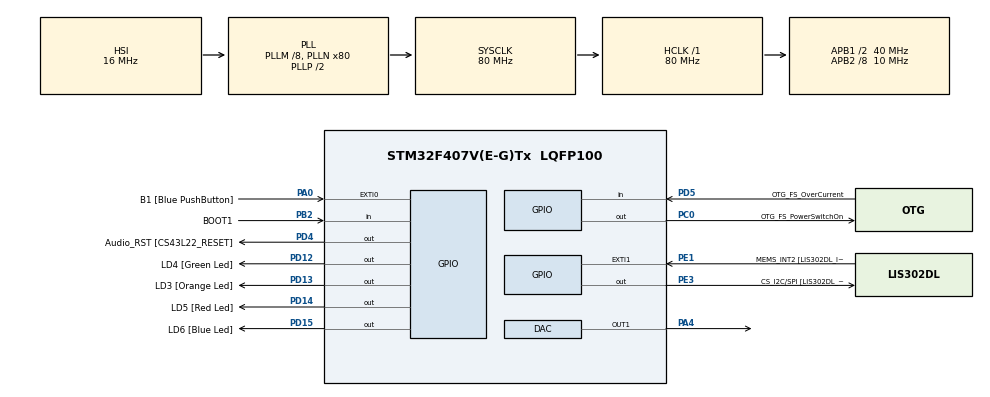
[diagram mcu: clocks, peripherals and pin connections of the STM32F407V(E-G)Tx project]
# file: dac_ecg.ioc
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Mcu.Family=STM32F4
Mcu.Name=STM32F407V(E-G)Tx
Mcu.Package=LQFP100
NVIC.EXTI0_IRQn=true\:0\:0\:false\:false\:true\:true\:true\:true
NVIC.PriorityGroup=NVIC_PRIORITYGROUP_0
NVIC.TIM2_IRQn=true\:0\:0\:false\:false\:true\:true\:true\:true
PA0-WKUP.GPIO_Label=B1 [Blue PushButton]
PA0-WKUP.Signal=GPXTI0
PA10.GPIO_Label=OTG_FS_ID
PA10.GPIO_Mode=GPIO_MODE_AF_PP
PA10.GPIO_PuPd=GPIO_NOPULL
PA10.GPIO_Speed=GPIO_SPEED_FREQ_LOW
PA10.Signal=USB_OTG_FS_ID
PA11.GPIO_Label=OTG_FS_DM
PA11.GPIO_Mode=GPIO_MODE_AF_PP
PA11.GPIO_PuPd=GPIO_NOPULL
PA11.GPIO_Speed=GPIO_SPEED_FREQ_LOW
PA11.Signal=USB_OTG_FS_DM
PA12.GPIO_Label=OTG_FS_DP
PA12.GPIO_Mode=GPIO_MODE_AF_PP
PA12.GPIO_PuPd=GPIO_NOPULL
PA12.GPIO_Speed=GPIO_SPEED_FREQ_LOW
PA12.Signal=USB_OTG_FS_DP
PA13.GPIO_Label=SWDIO
PA13.Signal=SYS_JTMS-SWDIO
PA14.GPIO_Label=SWCLK
PA14.Signal=SYS_JTCK-SWCLK
PA4.Signal=COMP_DAC1_group
PA5.GPIO_Label=SPI1_SCK [LIS302DL_SCL/SPC]
PA5.GPIO_Mode=GPIO_MODE_AF_PP
PA5.GPIO_PuPd=GPIO_NOPULL
PA5.GPIO_Speed=GPIO_SPEED_FREQ_LOW
PA5.Signal=SPI1_SCK
PA6.GPIO_Label=SPI1_MISO [LIS302DL_SDO]
PA6.GPIO_Mode=GPIO_MODE_AF_PP
PA6.GPIO_PuPd=GPIO_NOPULL
PA6.GPIO_Speed=GPIO_SPEED_FREQ_LOW
PA6.Signal=SPI1_MISO
PA7.GPIO_Label=SPI1_MOSI [LIS302DL_SDA/SDI/SDO]
PA7.GPIO_Mode=GPIO_MODE_AF_PP
PA7.GPIO_PuPd=GPIO_NOPULL
PA7.GPIO_Speed=GPIO_SPEED_FREQ_LOW
PA7.Signal=SPI1_MOSI
PA9.GPIO_Label=VBUS_FS
PA9.GPIO_Mode=GPIO_MODE_INPUT
PA9.GPIO_PuPd=GPIO_NOPULL
PA9.Signal=USB_OTG_FS_VBUS
PB10.GPIO_Label=CLK_IN [MP45DT02_CLK]
PB10.GPIO_Mode=GPIO_MODE_AF_PP
PB10.GPIO_PuPd=GPIO_NOPULL
PB10.GPIO_Speed=GPIO_SPEED_FREQ_LOW
PB10.Signal=I2S2_CK
PB2.GPIO_Label=BOOT1
PB2.GPIO_Mode=GPIO_MODE_INPUT
PB2.GPIO_PuPd=GPIO_NOPULL
PB2.Signal=GPIO_Input
PB3.GPIO_Label=SWO
PB3.Signal=SYS_JTDO-SWO
PB6.GPIO_Label=Audio_SCL [CS43L22_SCL]
PB6.GPIO_Mode=GPIO_MODE_AF_OD
PB6.GPIO_PuPd=GPIO_NOPULL
PB6.GPIO_Speed=GPIO_SPEED_FREQ_LOW
PB6.Signal=I2C1_SCL
PB9.GPIO_Label=Audio_SDA [CS43L22_SDA]
PB9.GPIO_Mode=GPIO_MODE_AF_OD
PB9.GPIO_PuPd=GPIO_NOPULL
PB9.GPIO_Speed=GPIO_SPEED_FREQ_LOW
PB9.Signal=I2C1_SDA
PC0.GPIO_Label=OTG_FS_PowerSwitchOn
PC0.GPIO_PuPd=GPIO_NOPULL
PC0.GPIO_Speed=GPIO_SPEED_FREQ_LOW
PC0.PinState=GPIO_PIN_SET
PC0.Signal=GPIO_Output
PC10.GPIO_Label=I2S3_SCK [CS43L22_SCLK]
PC10.GPIO_Mode=GPIO_MODE_AF_PP
PC10.GPIO_PuPd=GPIO_NOPULL
PC10.GPIO_Speed=GPIO_SPEED_FREQ_LOW
PC10.Signal=I2S3_CK
PC12.GPIO_Label=I2S3_SD [CS43L22_SDIN]
PC12.GPIO_Mode=GPIO_MODE_AF_PP
PC12.GPIO_PuPd=GPIO_NOPULL
PC12.GPIO_Speed=GPIO_SPEED_FREQ_LOW
PC12.Signal=I2S3_SD
PC14-OSC32_IN.GPIO_Label=PC14-OSC32_IN
PC14-OSC32_IN.Signal=RCC_OSC32_IN
PC15-OSC32_OUT.GPIO_Label=PC15-OSC32_OUT
PC15-OSC32_OUT.Signal=RCC_OSC32_OUT
PC3.GPIO_Label=PDM_OUT [MP45DT02_DOUT]
PC3.GPIO_Mode=GPIO_MODE_AF_PP
PC3.GPIO_PuPd=GPIO_NOPULL
PC3.GPIO_Speed=GPIO_SPEED_FREQ_LOW
PC3.Signal=I2S2_SD
PC7.GPIO_Label=I2S3_MCK [CS43L22_MCLK]
PC7.GPIO_Mode=GPIO_MODE_AF_PP
PC7.GPIO_PuPd=GPIO_NOPULL
PC7.GPIO_Speed=GPIO_SPEED_FREQ_LOW
PC7.Signal=I2S3_MCK
PD12.GPIO_Label=LD4 [Green Led]
PD12.GPIO_PuPd=GPIO_NOPULL
PD12.GPIO_Speed=GPIO_SPEED_FREQ_LOW
PD12.Signal=GPIO_Output
PD13.GPIO_Label=LD3 [Orange Led]
PD13.GPIO_PuPd=GPIO_NOPULL
PD13.GPIO_Speed=GPIO_SPEED_FREQ_LOW
PD13.Signal=GPIO_Output
PD14.GPIO_Label=LD5 [Red Led]
PD14.GPIO_PuPd=GPIO_NOPULL
PD14.GPIO_Speed=GPIO_SPEED_FREQ_LOW
PD14.Signal=GPIO_Output
PD15.GPIO_Label=LD6 [Blue Led]
PD15.GPIO_PuPd=GPIO_NOPULL
PD15.GPIO_Speed=GPIO_SPEED_FREQ_LOW
PD15.Signal=GPIO_Output
PD4.GPIO_Label=Audio_RST [CS43L22_RESET]
PD4.GPIO_PuPd=GPIO_NOPULL
PD4.GPIO_Speed=GPIO_SPEED_FREQ_LOW
PD4.Signal=GPIO_Output
PD5.GPIO_Label=OTG_FS_OverCurrent
PD5.GPIO_Mode=GPIO_MODE_INPUT
PD5.GPIO_PuPd=GPIO_NOPULL
PD5.Signal=GPIO_Input
PE1.GPIO_Label=MEMS_INT2 [LIS302DL_INT2]
PE1.GPIO_ModeDefaultEXTI=GPIO_MODE_EVT_RISING
PE1.GPIO_PuPd=GPIO_NOPULL
PE1.Signal=GPXTI1
PE3.GPIO_Label=CS_I2C/SPI [LIS302DL_CS_I2C/SPI]
PE3.GPIO_PuPd=GPIO_NOPULL
PE3.GPIO_Speed=GPIO_SPEED_FREQ_LOW
PE3.Signal=GPIO_Output
PH0-OSC_IN.GPIO_Label=PH0-OSC_IN
PH0-OSC_IN.Signal=RCC_OSC_IN
PH1-OSC_OUT.GPIO_Label=PH1-OSC_OUT
PH1-OSC_OUT.Signal=RCC_OSC_OUT
ProjectManager.HeapSize=0x200
ProjectManager.StackSize=0x400
ProjectManager.TargetToolchain=STM32CubeIDE
RCC.48MHZClocksFreq_Value=22857142.85714286
RCC.AHBFreq_Value=80000000
RCC.APB1CLKDivider=RCC_HCLK_DIV2
RCC.APB1Freq_Value=40000000
RCC.APB1TimFreq_Value=80000000
RCC.APB2CLKDivider=RCC_HCLK_DIV8
RCC.APB2Freq_Value=10000000
RCC.APB2TimFreq_Value=20000000
RCC.CortexFreq_Value=80000000
RCC.HCLKFreq_Value=80000000
RCC.HSE_VALUE=8000000
RCC.HSI_VALUE=16000000
RCC.LSE_VALUE=32768
RCC.PLLM=8
RCC.PLLN=80
RCC.PLLQ=7
RCC.SYSCLKFreq_VALUE=80000000
RCC.SYSCLKSource=RCC_SYSCLKSOURCE_PLLCLK
RCC.VCOOutputFreq_Value=160000000
SH.COMP_DAC1_group.0=DAC_OUT1,DAC_OUT1
TIM2.Period=999
TIM2.Prescaler=79
VP_TIM2_VS_ClockSourceINT.Mode=Internal
board=STM32F407G-DISC1

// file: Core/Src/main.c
/* USER CODE BEGIN Header */
/**
  ******************************************************************************
  * @file           : main.c
  * @brief          : Main program body
  ******************************************************************************
  * @attention
  *
  * Copyright (c) 2025 STMicroelectronics.
  * All rights reserved.
  *
  * This software is licensed under terms that can be found in the LICENSE file
  * in the root directory of this software component.
  * If no LICENSE file comes with this software, it is provided AS-IS.
  *
  ******************************************************************************
  */
/* USER CODE END Header */
#include "main.h"

/* USER CODE BEGIN Includes */
#define FREQ_SAMPLING 1000
#define LED_VERDE GPIO_PIN_12
#define LED_NARANJA GPIO_PIN_13
#define LED_ROJO GPIO_PIN_14
#define LED_AZUL GPIO_PIN_15

#define ECG_30_SIZE (sizeof(ecg_30ppm)/sizeof(ecg_30ppm[0]))
#define ECG_60_SIZE (sizeof(ecg_60ppm)/sizeof(ecg_60ppm[0]))
#define ECG_120_SIZE (sizeof(ecg_120ppm)/sizeof(ecg_120ppm[0]))
#define ECG_180_SIZE (sizeof(ecg_180ppm)/sizeof(ecg_180ppm[0]))

volatile uint16_t i = 0;
volatile uint8_t n = 0;

const uint16_t ecg_30ppm[2000] = {
    189, 189, 189, 189, 189, 189, 189, 189, 189, 190,
    190, 190, 190, 190, 190, 190, 190, 190, 190, 190,
    190, 190, 190, 190, 190, 190, 190, 190, 190, 190,
    190, 190, 191, 191, 191, 191, 191, 191, 191, 191,
    191, 191, 191, 191, 191, 191, 191, 191, 191, 191,
    191, 191, 191, 191, 191, 191, 192, 192, 192, 192,
    192, 192, 192, 192, 192, 192, 192, 192, 192, 192,
    192, 192, 192, 192, 192, 192, 192, 192, 192, 192,
    193, 193, 193, 193, 193, 193, 193, 193, 193, 193,
    193, 193, 193, 193, 193, 193, 193, 193, 193, 193,
    193, 193, 193, 193, 194, 194, 194, 194, 194, 194,
    194, 194, 194, 194, 194, 194, 194, 194, 194, 194,
    194, 194, 194, 194, 194, 194, 194, 194, 194, 195,
    195, 195, 195, 195, 195, 195, 195, 195, 195, 195,
    195, 195, 195, 195, 195, 195, 195, 195, 195, 195,
    195, 195, 195, 195, 195, 196, 196, 196, 196, 196,
    196, 196, 196, 196, 196, 196, 196, 196, 196, 196,
    196, 196, 196, 196, 196, 196, 196, 196, 196, 196,
    196, 196, 197, 197, 197, 197, 197, 197, 197, 197,
    197, 197, 197, 197, 197, 197, 197, 197, 197, 197,
    197, 197, 197, 197, 197, 197, 197, 197, 197, 198,
    198, 198, 198, 198, 198, 198, 198, 198, 198, 198,
    198, 198, 198, 198, 198, 198, 198, 198, 198, 198,
    198, 198, 198, 198, 198, 198, 198, 199, 199, 199,
    199, 199, 199, 199, 199, 199, 199, 199, 199, 199,
    199, 199, 199, 199, 199, 199, 199, 199, 199, 199,
    199, 199, 199, 199, 199, 199, 200, 200, 200, 200,
    200, 200, 200, 200, 200, 200, 200, 200, 200, 200,
    200, 200, 200, 200, 200, 200, 200, 200, 200, 200,
    200, 200, 200, 200, 200, 200, 201, 201, 201, 201,
    201, 201, 201, 201, 201, 201, 201, 201, 201, 201,
    201, 201, 201, 201, 201, 201, 201, 201, 201, 201,
    201, 201, 201, 201, 201, 201, 202, 202, 202, 202,
    202, 202, 202, 202, 202, 202, 202, 202, 202, 202,
    202, 202, 202, 202, 202, 202, 202, 202, 202, 202,
    202, 202, 202, 202, 202, 202, 202, 202, 203, 203,
    203, 203, 203, 203, 203, 203, 203, 203, 203, 203,
    203, 203, 203, 203, 203, 203, 203, 203, 203, 203,
    203, 203, 203, 203, 203, 203, 203, 203, 203, 203,
    203, 204, 204, 204, 204, 204, 204, 204, 204, 204,
    204, 204, 204, 204, 204, 204, 204, 204, 204, 204,
    204, 204, 204, 204, 204, 204, 204, 204, 204, 204,
    204, 204, 204, 204, 205, 205, 205, 205, 205, 205,
    205, 205, 205, 205, 205, 205, 205, 205, 205, 205,
    205, 205, 205, 205, 205, 205, 205, 205, 205, 205,
    205, 205, 205, 205, 205, 205, 205, 205, 205, 206,
    206, 206, 206, 206, 206, 206, 206, 206, 206, 206,
    206, 206, 206, 206, 206, 206, 206, 206, 206, 206,
    206, 206, 206, 206, 206, 206, 206, 206, 206, 206,
    206, 206, 206, 206, 206, 206, 207, 207, 207, 207,
    207, 207, 207, 207, 207, 207, 207, 207, 207, 207,
    207, 207, 207, 207, 207, 207, 207, 207, 207, 207,
    207, 207, 207, 207, 207, 207, 207, 207, 207, 207,
    207, 207, 207, 208, 208, 208, 208, 208, 208, 208,
    208, 208, 208, 208, 208, 208, 208, 208, 208, 208,
    208, 208, 208, 208, 208, 208, 208, 208, 208, 208,
    208, 209, 209, 209, 209, 209, 209, 209, 209, 209,
    209, 209, 209, 209, 209, 209, 209, 209, 209, 209,
    209, 209, 209, 209, 209, 209, 209, 209, 209, 209,
    209, 209, 209, 209, 209, 209, 209, 209, 209, 209,
    209, 209, 209, 209, 209, 209, 210, 210, 210, 210,
    210, 210, 210, 210, 210, 210, 211, 211, 211, 211,
    211, 212, 212, 212, 212, 213, 213, 213, 214, 214,
    214, 215, 215, 216, 216, 217, 217, 218, 219, 219,
    220, 221, 221, 222, 223, 224, 225, 226, 227, 228,
    229, 231, 232, 233, 235, 236, 238, 239, 241, 243,
    244, 246, 248, 250, 252, 254, 257, 259, 261, 264,
    266, 268, 271, 274, 276, 279, 282, 284, 287, 290,
    293, 296, 298, 301, 304, 307, 310, 313, 316, 319,
    322, 325, 328, 331, 333, 336, 339, 342, 344, 347,
    349, 351, 354, 356, 358, 360, 362, 363, 365, 366,
    368, 369, 370, 371, 372, 372, 373, 373, 373, 373,
    373, 373, 373, 372, 372, 371, 370, 369, 368, 366,
    365, 363, 361, 360, 358, 356, 353, 351, 349, 346,
    344, 341, 338, 336, 333, 330, 327, 324, 321, 318,
    315, 312, 309, 306, 302, 299, 296, 293, 290, 287,
    284, 281, 278, 275, 272, 270, 267, 264, 262, 259,
    256, 254, 252, 249, 247, 245, 243, 241, 239, 237,
    235, 233, 231, 230, 228, 226, 225, 224, 222, 221,
    220, 219, 218, 217, 216, 215, 214, 213, 212, 211,
    211, 210, 209, 209, 208, 208, 207, 207, 206, 206,
    206, 205, 205, 205, 204, 204, 204, 204, 203, 203,
    203, 203, 203, 203, 203, 202, 202, 202, 202, 202,
    202, 202, 202, 202, 202, 202, 202, 202, 202, 202,
    202, 202, 202, 202, 202, 202, 202, 202, 202, 202,
    202, 202, 202, 202, 202, 202, 202, 202, 202, 202,
    202, 202, 202, 202, 202, 202, 202, 202, 203, 203,
    203, 203, 203, 203, 203, 203, 203, 203, 203, 203,
    203, 203, 203, 203, 203, 203, 203, 203, 203, 203,
    203, 203, 203, 203, 203, 203, 203, 203, 203, 203,
    203, 203, 203, 203, 203, 203, 203, 203, 203, 203,
    203, 203, 202, 202, 202, 202, 201, 201, 200, 200,
    199, 198, 198, 197, 196, 194, 193, 192, 190, 188,
    186, 184, 182, 179, 176, 173, 170, 166, 162, 159,
    155, 150, 146, 142, 137, 133, 129, 125, 121, 118,
    115, 113, 111, 109, 108, 108, 109, 111, 115, 119,
    126, 134, 144, 156, 170, 186, 204, 224, 247, 271,
    298, 327, 358, 391, 426, 462, 501, 540, 582, 624,
    668, 713, 758, 804, 849, 894, 938, 980, 1021, 1059,
    1096, 1129, 1160, 1187, 1211, 1232, 1249, 1262, 1271, 1275,
    1276, 1272, 1265, 1252, 1236, 1215, 1191, 1162, 1129, 1093,
    1054, 1013, 970, 925, 878, 831, 782, 734, 685, 636,
    588, 540, 494, 448, 404, 362, 322, 283, 247, 213,
    182, 154, 128, 105, 84, 66, 51, 37, 26, 17,
    10, 5, 2, 0, 0, 1, 4, 7, 12, 17,
    23, 30, 37, 44, 51, 59, 66, 73, 81, 88,
    95, 102, 108, 114, 120, 126, 131, 136, 140, 144,
    148, 152, 155, 158, 160, 163, 165, 167, 168, 170,
    171, 172, 173, 174, 175, 176, 177, 177, 178, 178,
    178, 179, 179, 179, 179, 180, 180, 180, 180, 180,
    180, 180, 181, 181, 181, 181, 181, 181, 181, 181,
    181, 181, 181, 181, 181, 181, 181, 182, 182, 182,
    182, 182, 182, 182, 182, 182, 182, 182, 182, 182,
    182, 182, 182, 182, 182, 182, 182, 183, 183, 183,
    183, 183, 183, 183, 183, 183, 183, 183, 183, 183,
    183, 183, 183, 183, 183, 183, 183, 184, 184, 184,
    184, 184, 184, 184, 184, 184, 184, 184, 184, 184,
    184, 184, 184, 184, 184, 184, 184, 185, 185, 185,
    185, 185, 185, 185, 185, 185, 185, 185, 185, 185,
    185, 185, 185, 185, 185, 185, 186, 186, 186, 186,
    186, 186, 186, 186, 186, 186, 186, 186, 186, 186,
    186, 186, 187, 187, 187, 187, 187, 187, 187, 187,
    187, 187, 187, 187, 187, 188, 188, 188, 188, 188,
    188, 188, 188, 188, 188, 189, 189, 189, 189, 189,
    189, 189, 189, 190, 190, 190, 190, 190, 190, 191,
    191, 191, 191, 191, 192, 192, 192, 192, 193, 193,
    193, 194, 194, 194, 195, 195, 195, 196, 196, 196,
    197, 197, 198, 198, 199, 199, 200, 200, 201, 201,
    202, 202, 203, 204, 204, 205, 206, 207, 207, 208,
    209, 210, 211, 212, 213, 214, 215, 216, 217, 218,
    219, 220, 221, 222, 224, 225, 226, 227, 229, 230,
    232, 233, 235, 236, 238, 240, 241, 243, 245, 247,
    248, 250, 252, 254, 256, 258, 260, 262, 264, 267,
    269, 271, 273, 276, 278, 281, 283, 285, 288, 291,
    293, 296, 298, 301, 304, 306, 309, 312, 315, 318,
    321, 323, 326, 329, 332, 335, 338, 341, 344, 347,
    350, 353, 356, 359, 362, 365, 368, 371, 374, 377,
    380, 383, 386, 389, 392, 395, 398, 401, 403, 406,
    409, 412, 414, 417, 420, 422, 425, 427, 429, 432,
    434, 436, 439, 441, 443, 445, 447, 448, 450, 452,
    453, 455, 456, 458, 459, 460, 461, 463, 463, 464,
    465, 466, 466, 467, 467, 468, 468, 468, 468, 468,
    468, 468, 467, 467, 467, 466, 465, 465, 464, 463,
    462, 461, 459, 458, 457, 455, 454, 452, 450, 449,
    447, 445, 443, 441, 439, 436, 434, 432, 429, 427,
    424, 422, 419, 417, 414, 411, 408, 405, 402, 399,
    396, 393, 390, 387, 384, 381, 378, 375, 371, 368,
    365, 362, 358, 355, 352, 349, 345, 342, 339, 336,
    332, 329, 326, 323, 319, 316, 313, 310, 307, 304,
    301, 298, 295, 292, 289, 286, 283, 280, 277, 274,
    272, 269, 266, 263, 261, 258, 256, 253, 251, 248,
    246, 244, 241, 239, 237, 235, 233, 230, 228, 226,
    225, 223, 221, 219, 217, 215, 214, 212, 211, 209,
    207, 206, 205, 203, 202, 200, 199, 198, 197, 196,
    194, 193, 192, 191, 190, 189, 188, 187, 187, 186,
    185, 184, 183, 183, 182, 181, 181, 180, 179, 179,
    178, 178, 177, 177, 176, 176, 175, 175, 174, 174,
    174, 173, 173, 173, 172, 172, 172, 172, 171, 171,
    171, 171, 171, 170, 170, 170, 170, 170, 170, 170,
    170, 169, 169, 169, 169, 169, 169, 169, 169, 169,
    169, 169, 169, 169, 169, 169, 169, 169, 169, 169,
    169, 169, 169, 169, 169, 169, 169, 169, 169, 169,
    169, 169, 169, 169, 169, 169, 169, 169, 169, 169,
    169, 169, 169, 169, 170, 170, 170, 170, 170, 170,
    170, 170, 170, 170, 170, 170, 170, 170, 170, 170,
    170, 170, 170, 170, 171, 171, 171, 171, 171, 171,
    171, 171, 171, 171, 171, 171, 171, 171, 171, 171,
    171, 172, 172, 172, 172, 172, 172, 172, 172, 172,
    172, 172, 172, 172, 172, 172, 172, 173, 173, 173,
    173, 173, 173, 173, 173, 173, 173, 173, 173, 173,
    173, 173, 173, 173, 174, 174, 174, 174, 174, 174,
    174, 174, 174, 174, 174, 174, 174, 174, 174, 174,
    174, 175, 175, 175, 175, 175, 175, 175, 175, 175,
    175, 175, 175, 175, 175, 175, 175, 175, 176, 176,
    176, 176, 176, 176, 176, 176, 176, 176, 176, 176,
    176, 176, 176, 176, 176, 177, 177, 177, 177, 177,
    177, 177, 177, 177, 177, 177, 177, 177, 177, 177,
    177, 177, 178, 178, 178, 178, 178, 178, 178, 178,
    178, 178, 178, 178, 178, 178, 178, 178, 178, 178,
    179, 179, 179, 179, 179, 179, 179, 179, 179, 179,
    179, 179, 179, 179, 179, 179, 179, 179, 179, 180,
    180, 180, 180, 180, 180, 180, 180, 180, 180, 180,
    180, 180, 180, 180, 180, 180, 180, 181, 181, 181,
    181, 181, 181, 181, 181, 181, 181, 181, 181, 181,
    181, 181, 181, 181, 181, 181, 182, 182, 182, 182,
    182, 182, 182, 182, 182, 182, 182, 182, 182, 182,
    182, 182, 182, 182, 182, 182, 183, 183, 183, 183,
    183, 183, 183, 183, 183, 183, 183, 183, 183, 183,
    183, 183, 183, 183, 183, 183, 184, 184, 184, 184,
    184, 184, 184, 184, 184, 184, 184, 184, 184, 184,
    184, 184, 184, 184, 184, 184, 185, 185, 185, 185,
    185, 185, 185, 185, 185, 185, 185, 185, 185, 185,
    185, 185, 185, 185, 185, 185, 186, 186, 186, 186,
    186, 186, 186, 186, 186, 186, 186, 186, 186, 186,
    186, 186, 186, 186, 186, 186, 186, 187, 187, 187,
    187, 187, 187, 187, 187, 187, 187, 187, 187, 187,
    187, 187, 187, 187, 187, 187, 187, 187, 187, 188,
    188, 188, 188, 188, 188, 188, 188, 188, 188, 188,
    188, 188, 188, 188, 188, 188, 188, 188, 188, 188,
    188, 189, 189, 189, 189, 189, 189, 189, 189, 189
};

const uint16_t ecg_180ppm[334] = {
    202, 202, 202, 202, 202, 202, 202, 202, 202, 202,
    202, 202, 202, 202, 202, 203, 203, 203, 203, 203,
    203, 203, 203, 203, 203, 203, 203, 203, 203, 203,
    203, 203, 203, 203, 203, 203, 203, 203, 204, 204,
    204, 204, 204, 204, 204, 204, 204, 204, 205, 205,
    205, 206, 206, 207, 207, 208, 209, 210, 211, 212,
    214, 216, 218, 220, 223, 226, 229, 233, 237, 242,
    247, 252, 258, 264, 271, 278, 285, 293, 301, 309,
    317, 325, 333, 340, 348, 355, 361, 367, 372, 377,
    381, 383, 385, 386, 386, 385, 383, 381, 377, 372,
    367, 361, 354, 347, 340, 332, 324, 316, 308, 300,
    292, 284, 277, 270, 263, 256, 250, 245, 240, 235,
    230, 227, 223, 220, 217, 215, 212, 211, 209, 207,
    206, 204, 203, 201, 199, 196, 192, 188, 183, 176,
    168, 159, 148, 137, 126, 115, 105, 98, 96, 99,
    111, 133, 166, 212, 273, 348, 437, 539, 651, 770,
    891, 1010, 1121, 1219, 1297, 1351, 1379, 1380, 1352, 1298,
    1219, 1118, 1000, 872, 741, 611, 488, 375, 274, 189,
    120, 68, 31, 9, 0, 1, 9, 23, 40, 60,
    79, 98, 115, 131, 144, 155, 164, 172, 177, 181,
    185, 187, 189, 190, 191, 192, 193, 194, 194, 195,
    196, 196, 197, 198, 199, 200, 201, 202, 204, 205,
    207, 209, 211, 213, 215, 218, 220, 223, 226, 229,
    233, 237, 241, 245, 249, 254, 259, 265, 270, 276,
    282, 288, 295, 302, 309, 316, 324, 331, 339, 347,
    355, 364, 372, 380, 388, 397, 405, 413, 421, 429,
    436, 444, 451, 458, 464, 470, 476, 481, 486, 490,
    494, 497, 500, 502, 503, 504, 504, 504, 503, 501,
    499, 496, 493, 489, 484, 480, 474, 469, 462, 456,
    449, 442, 435, 427, 419, 411, 403, 395, 386, 378,
    369, 361, 352, 344, 336, 327, 319, 312, 304, 296,
    289, 282, 276, 269, 263, 257, 252, 247, 242, 237,
    232, 228, 224, 221, 217, 214, 211, 208, 206, 203,
    201, 199, 197, 196
};
const uint16_t ecg_120ppm[500] = {
    192, 192, 193, 193, 193, 193, 193, 193, 193, 193,
    193, 194, 194, 194, 194, 194, 194, 194, 194, 194,
    194, 195, 195, 195, 195, 195, 195, 195, 195, 195,
    195, 195, 195, 196, 196, 196, 196, 196, 196, 196,
    196, 196, 196, 196, 197, 197, 197, 197, 197, 197,
    197, 197, 197, 197, 197, 197, 198, 198, 198, 198,
    198, 198, 198, 198, 198, 198, 198, 199, 199, 199,
    199, 199, 199, 199, 199, 199, 199, 199, 199, 200,
    200, 200, 200, 200, 200, 200, 200, 200, 201, 201,
    201, 201, 201, 201, 201, 202, 202, 202, 202, 203,
    203, 204, 204, 205, 205, 206, 207, 208, 209, 210,
    211, 213, 214, 216, 218, 220, 223, 226, 229, 232,
    236, 240, 244, 248, 253, 258, 263, 269, 274, 280,
    286, 293, 299, 305, 312, 318, 325, 331, 338, 344,
    350, 355, 360, 365, 369, 373, 376, 379, 381, 383,
    383, 384, 383, 382, 381, 379, 376, 372, 369, 364,
    359, 354, 348, 343, 336, 330, 324, 317, 311, 304,
    298, 291, 285, 279, 273, 267, 262, 257, 252, 247,
    243, 239, 235, 231, 228, 225, 222, 220, 218, 216,
    214, 212, 211, 210, 209, 208, 207, 206, 206, 205,
    205, 204, 204, 204, 203, 203, 202, 201, 200, 199,
    198, 196, 194, 191, 188, 183, 178, 172, 165, 158,
    149, 140, 131, 122, 114, 106, 101, 99, 101, 107,
    119, 139, 166, 201, 246, 301, 366, 439, 521, 609,
    703, 801, 899, 995, 1086, 1168, 1239, 1297, 1340, 1366,
    1374, 1362, 1332, 1283, 1219, 1141, 1052, 955, 852, 745,
    639, 536, 439, 350, 270, 200, 141, 93, 55, 28,
    11, 2, 0, 4, 13, 25, 39, 54, 70, 86,
    101, 116, 128, 140, 150, 158, 165, 171, 176, 180,
    183, 186, 188, 189, 190, 191, 192, 192, 193, 193,
    194, 194, 194, 194, 195, 195, 195, 195, 196, 196,
    196, 197, 197, 197, 198, 198, 199, 199, 200, 200,
    201, 202, 203, 203, 204, 205, 206, 207, 209, 210,
    211, 213, 214, 216, 218, 220, 222, 224, 227, 229,
    232, 235, 238, 241, 244, 247, 251, 255, 259, 263,
    267, 271, 276, 281, 286, 291, 296, 301, 307, 313,
    319, 325, 331, 338, 344, 351, 357, 364, 371, 377,
    384, 391, 397, 404, 411, 417, 423, 430, 436, 442,
    447, 453, 458, 464, 469, 473, 478, 482, 486, 490,
    493, 496, 499, 501, 503, 504, 506, 506, 507, 507,
    506, 505, 504, 502, 500, 497, 494, 491, 488, 484,
    480, 475, 470, 465, 460, 455, 449, 443, 437, 431,
    425, 418, 412, 405, 398, 391, 385, 378, 371, 364,
    357, 350, 344, 337, 330, 324, 318, 311, 305, 299,
    294, 288, 283, 277, 272, 268, 263, 258, 254, 250,
    246, 242, 239, 235, 232, 229, 226, 223, 220, 218,
    216, 213, 211, 209, 208, 206, 204, 203, 202, 201,
    199, 198, 198, 197, 196, 195, 194, 194, 193, 193,
    192, 192, 192, 191, 191, 191, 191, 190, 190, 190,
    190, 190, 190, 190, 190, 190, 190, 190, 190, 190
};

const uint16_t ecg_60ppm[1000] = {
    196, 196, 196, 196, 196, 196, 196, 197, 197, 197,
    197, 197, 197, 197, 197, 197, 197, 197, 197, 197,
    197, 198, 198, 198, 198, 198, 198, 198, 198, 198,
    198, 198, 198, 198, 198, 199, 199, 199, 199, 199,
    199, 199, 199, 199, 199, 199, 199, 199, 199, 200,
    200, 200, 200, 200, 200, 200, 200, 200, 200, 200,
    200, 200, 200, 200, 201, 201, 201, 201, 201, 201,
    201, 201, 201, 201, 201, 201, 201, 201, 201, 202,
    202, 202, 202, 202, 202, 202, 202, 202, 202, 202,
    202, 202, 202, 202, 203, 203, 203, 203, 203, 203,
    203, 203, 203, 203, 203, 203, 203, 203, 203, 203,
    204, 204, 204, 204, 204, 204, 204, 204, 204, 204,
    204, 204, 204, 204, 204, 205, 205, 205, 205, 205,
    205, 205, 205, 205, 205, 205, 205, 205, 205, 205,
    205, 206, 206, 206, 206, 206, 206, 206, 206, 206,
    206, 206, 206, 206, 206, 206, 206, 206, 207, 207,
    207, 207, 207, 207, 207, 207, 207, 207, 207, 207,
    207, 207, 207, 207, 208, 208, 208, 208, 208, 208,
    208, 208, 208, 208, 208, 208, 208, 208, 208, 208,
    208, 209, 209, 209, 209, 209, 209, 209, 209, 209,
    209, 209, 209, 209, 209, 209, 209, 210, 210, 210,
    210, 210, 210, 210, 210, 210, 210, 210, 210, 210,
    210, 210, 210, 210, 211, 211, 211, 211, 211, 211,
    211, 211, 211, 211, 211, 211, 211, 211, 211, 211,
    211, 211, 211, 212, 212, 212, 212, 212, 212, 212,
    212, 212, 213, 213, 213, 213, 213, 213, 214, 214,
    214, 214, 215, 215, 215, 216, 216, 216, 217, 217,
    218, 219, 219, 220, 221, 222, 223, 224, 225, 227,
    228, 230, 231, 233, 235, 237, 239, 241, 243, 246,
    248, 251, 254, 257, 260, 263, 267, 270, 274, 278,
    282, 286, 290, 294, 299, 303, 308, 313, 317, 322,
    326, 331, 335, 340, 344, 348, 353, 357, 361, 364,
    368, 372, 375, 378, 381, 384, 386, 388, 390, 392,
    393, 394, 395, 395, 395, 395, 394, 393, 392, 390,
    388, 386, 383, 380, 377, 374, 371, 367, 363, 359,
    355, 351, 347, 342, 338, 333, 328, 324, 319, 314,
    309, 305, 300, 296, 291, 287, 282, 278, 274, 270,
    267, 263, 260, 256, 253, 250, 247, 244, 242, 239,
    237, 235, 232, 231, 229, 227, 225, 224, 223, 221,
    220, 219, 218, 217, 217, 216, 215, 215, 214, 214,
    213, 213, 213, 212, 212, 212, 212, 211, 211, 211,
    211, 211, 211, 211, 211, 211, 211, 211, 211, 211,
    211, 211, 211, 211, 211, 211, 211, 211, 211, 211,
    211, 211, 211, 211, 211, 211, 210, 210, 210, 210,
    209, 209, 208, 207, 206, 205, 203, 201, 199, 197,
    194, 191, 187, 183, 179, 174, 168, 162, 156, 150,
    143, 137, 130, 124, 119, 114, 110, 108, 107, 108,
    112, 119, 129, 142, 160, 182, 208, 238, 273, 314,
    359, 408, 463, 521, 583, 648, 715, 784, 854, 923,
    992, 1058, 1121, 1180, 1233, 1280, 1320, 1351, 1375, 1389,
    1394, 1389, 1375, 1351, 1319, 1278, 1229, 1173, 1110, 1043,
    972, 898, 822, 745, 669, 594, 522, 452, 387, 326,
    270, 219, 173, 133, 99, 70, 47, 29, 16, 6,
    1, 0, 2, 6, 12, 20, 30, 40, 51, 63,
    74, 86, 97, 107, 117, 127, 135, 143, 150, 157,
    162, 167, 172, 176, 179, 182, 184, 186, 188, 190,
    191, 192, 193, 193, 194, 194, 195, 195, 195, 195,
    196, 196, 196, 196, 196, 196, 196, 196, 197, 197,
    197, 197, 197, 197, 197, 197, 197, 197, 197, 197,
    197, 198, 198, 198, 198, 198, 198, 198, 198, 198,
    198, 198, 199, 199, 199, 199, 199, 199, 199, 199,
    199, 200, 200, 200, 200, 200, 200, 200, 201, 201,
    201, 201, 201, 202, 202, 202, 202, 203, 203, 203,
    203, 204, 204, 204, 205, 205, 206, 206, 207, 207,
    208, 208, 209, 209, 210, 211, 211, 212, 213, 214,
    215, 215, 216, 217, 218, 220, 221, 222, 223, 225,
    226, 227, 229, 230, 232, 234, 235, 237, 239, 241,
    243, 245, 248, 250, 252, 255, 257, 260, 263, 266,
    269, 272, 275, 278, 281, 285, 288, 292, 295, 299,
    303, 307, 311, 315, 319, 323, 327, 331, 336, 340,
    345, 349, 354, 358, 363, 368, 372, 377, 382, 387,
    391, 396, 401, 406, 410, 415, 420, 424, 429, 433,
    438, 442, 447, 451, 455, 459, 463, 467, 471, 474,
    478, 481, 484, 487, 490, 493, 496, 498, 500, 502,
    504, 506, 507, 509, 510, 511, 511, 512, 512, 512,
    512, 512, 511, 511, 510, 509, 508, 506, 505, 503,
    501, 499, 496, 494, 491, 488, 485, 482, 478, 475,
    471, 467, 463, 459, 455, 451, 446, 442, 437, 432,
    428, 423, 418, 413, 409, 404, 399, 394, 389, 384,
    379, 374, 369, 364, 359, 355, 350, 345, 340, 336,
    331, 326, 322, 317, 313, 309, 304, 300, 296, 292,
    288, 284, 280, 276, 273, 269, 266, 262, 259, 256,
    253, 250, 247, 244, 241, 239, 236, 234, 231, 229,
    227, 225, 223, 221, 219, 217, 216, 214, 213, 211,
    210, 208, 207, 206, 205, 204, 203, 202, 201, 200,
    199, 198, 197, 197, 196, 195, 195, 194, 194, 193,
    193, 192, 192, 192, 191, 191, 191, 190, 190, 190,
    190, 190, 189, 189, 189, 189, 189, 189, 189, 189,
    189, 189, 189, 189, 189, 189, 189, 189, 189, 189,
    189, 189, 189, 189, 189, 189, 189, 189, 189, 189,
    189, 189, 189, 189, 189, 189, 189, 189, 189, 189,
    190, 190, 190, 190, 190, 190, 190, 190, 190, 190,
    190, 190, 190, 191, 191, 191, 191, 191, 191, 191,
    191, 191, 191, 191, 191, 191, 192, 192, 192, 192,
    192, 192, 192, 192, 192, 192, 192, 192, 192, 192,
    193, 193, 193, 193, 193, 193, 193, 193, 193, 193,
    193, 193, 193, 194, 194, 194, 194, 194, 194, 194,
    194, 194, 194, 194, 194, 194, 194, 195, 195, 195,
    195, 195, 195, 195, 195, 195, 195, 195, 195, 195,
    195, 196, 196, 196, 196, 196, 196, 196, 196, 196
};
/* USER CODE END Includes */

DAC_HandleTypeDef hdac;

TIM_HandleTypeDef htim2;

void SystemClock_Config(void);
static void MX_GPIO_Init(void);
static void MX_DAC_Init(void);
static void MX_TIM2_Init(void);

int main(void)
{

  /* MCU Configuration--------------------------------------------------------*/

  /* Reset of all peripherals, Initializes the Flash interface and the Systick. */
  HAL_Init();

  /* Configure the system clock */
  SystemClock_Config();

  /* Initialize all configured peripherals */
  MX_GPIO_Init();
  MX_DAC_Init();
  MX_TIM2_Init();
  /* USER CODE BEGIN 2 */
  HAL_DAC_Start(&hdac, DAC_CHANNEL_1);      // habilita DAC OUT1
  HAL_DAC_SetValue(&hdac, DAC_CHANNEL_1,    // valor inicial (evita 0V hasta la 1ª IRQ)
                   DAC_ALIGN_12B_R, ecg_60ppm[0]);
  HAL_TIM_Base_Start_IT(&htim2);            // TIM2 genera interrupción a 1 kHz

  /* USER CODE END 2 */

  /* Infinite loop */
  while (1)
  {

  }
}

void SystemClock_Config(void)
{
  RCC_OscInitTypeDef RCC_OscInitStruct = {0};
  RCC_ClkInitTypeDef RCC_ClkInitStruct = {0};

  /** Configure the main internal regulator output voltage
  */
  __HAL_RCC_PWR_CLK_ENABLE();
  __HAL_PWR_VOLTAGESCALING_CONFIG(PWR_REGULATOR_VOLTAGE_SCALE1);

  /** Initializes the RCC Oscillators according to the specified parameters
  * in the RCC_OscInitTypeDef structure.
  */
  RCC_OscInitStruct.OscillatorType = RCC_OSCILLATORTYPE_HSI;
  RCC_OscInitStruct.HSIState = RCC_HSI_ON;
  RCC_OscInitStruct.HSICalibrationValue = RCC_HSICALIBRATION_DEFAULT;
  RCC_OscInitStruct.PLL.PLLState = RCC_PLL_ON;
  RCC_OscInitStruct.PLL.PLLSource = RCC_PLLSOURCE_HSI;
  RCC_OscInitStruct.PLL.PLLM = 8;
  RCC_OscInitStruct.PLL.PLLN = 80;
  RCC_OscInitStruct.PLL.PLLP = RCC_PLLP_DIV2;
  RCC_OscInitStruct.PLL.PLLQ = 7;
  if (HAL_RCC_OscConfig(&RCC_OscInitStruct) != HAL_OK)
  {
    Error_Handler();
  }

  /** Initializes the CPU, AHB and APB buses clocks
  */
  RCC_ClkInitStruct.ClockType = RCC_CLOCKTYPE_HCLK|RCC_CLOCKTYPE_SYSCLK
                              |RCC_CLOCKTYPE_PCLK1|RCC_CLOCKTYPE_PCLK2;
  RCC_ClkInitStruct.SYSCLKSource = RCC_SYSCLKSOURCE_PLLCLK;
  RCC_ClkInitStruct.AHBCLKDivider = RCC_SYSCLK_DIV1;
  RCC_ClkInitStruct.APB1CLKDivider = RCC_HCLK_DIV2;
  RCC_ClkInitStruct.APB2CLKDivider = RCC_HCLK_DIV8;

  if (HAL_RCC_ClockConfig(&RCC_ClkInitStruct, FLASH_LATENCY_2) != HAL_OK)
  {
    Error_Handler();
  }
}

static void MX_DAC_Init(void)
{

  DAC_ChannelConfTypeDef sConfig = {0};

  /** DAC Initialization
  */
  hdac.Instance = DAC;
  if (HAL_DAC_Init(&hdac) != HAL_OK)
  {
    Error_Handler();
  }

  /** DAC channel OUT1 config
  */
  sConfig.DAC_Trigger = DAC_TRIGGER_NONE;
  sConfig.DAC_OutputBuffer = DAC_OUTPUTBUFFER_ENABLE;
  if (HAL_DAC_ConfigChannel(&hdac, &sConfig, DAC_CHANNEL_1) != HAL_OK)
  {
    Error_Handler();
  }

}

static void MX_TIM2_Init(void)
{

  TIM_ClockConfigTypeDef sClockSourceConfig = {0};
  TIM_MasterConfigTypeDef sMasterConfig = {0};

  htim2.Instance = TIM2;
  htim2.Init.Prescaler = 79;
  htim2.Init.CounterMode = TIM_COUNTERMODE_UP;
  htim2.Init.Period = 999;
  htim2.Init.ClockDivision = TIM_CLOCKDIVISION_DIV1;
  htim2.Init.AutoReloadPreload = TIM_AUTORELOAD_PRELOAD_DISABLE;
  if (HAL_TIM_Base_Init(&htim2) != HAL_OK)
  {
    Error_Handler();
  }
  sClockSourceConfig.ClockSource = TIM_CLOCKSOURCE_INTERNAL;
  if (HAL_TIM_ConfigClockSource(&htim2, &sClockSourceConfig) != HAL_OK)
  {
    Error_Handler();
  }
  sMasterConfig.MasterOutputTrigger = TIM_TRGO_RESET;
  sMasterConfig.MasterSlaveMode = TIM_MASTERSLAVEMODE_DISABLE;
  if (HAL_TIMEx_MasterConfigSynchronization(&htim2, &sMasterConfig) != HAL_OK)
  {
    Error_Handler();
  }

}

static void MX_GPIO_Init(void)
{
  GPIO_InitTypeDef GPIO_InitStruct = {0};

  /* GPIO Ports Clock Enable */
  __HAL_RCC_GPIOE_CLK_ENABLE();
  __HAL_RCC_GPIOC_CLK_ENABLE();
  __HAL_RCC_GPIOH_CLK_ENABLE();
  __HAL_RCC_GPIOA_CLK_ENABLE();
  __HAL_RCC_GPIOB_CLK_ENABLE();
  __HAL_RCC_GPIOD_CLK_ENABLE();

  /*Configure GPIO pin Output Level */
  HAL_GPIO_WritePin(CS_I2C_SPI_GPIO_Port, CS_I2C_SPI_Pin, GPIO_PIN_RESET);

  /*Configure GPIO pin Output Level */
  HAL_GPIO_WritePin(OTG_FS_PowerSwitchOn_GPIO_Port, OTG_FS_PowerSwitchOn_Pin, GPIO_PIN_SET);

  /*Configure GPIO pin Output Level */
  HAL_GPIO_WritePin(GPIOD, LD4_Pin|LD3_Pin|LD5_Pin|LD6_Pin
                          |Audio_RST_Pin, GPIO_PIN_RESET);

  /*Configure GPIO pin : CS_I2C_SPI_Pin */
  GPIO_InitStruct.Pin = CS_I2C_SPI_Pin;
  GPIO_InitStruct.Mode = GPIO_MODE_OUTPUT_PP;
  GPIO_InitStruct.Pull = GPIO_NOPULL;
  GPIO_InitStruct.Speed = GPIO_SPEED_FREQ_LOW;
  HAL_GPIO_Init(CS_I2C_SPI_GPIO_Port, &GPIO_InitStruct);

  /*Configure GPIO pin : OTG_FS_PowerSwitchOn_Pin */
  GPIO_InitStruct.Pin = OTG_FS_PowerSwitchOn_Pin;
  GPIO_InitStruct.Mode = GPIO_MODE_OUTPUT_PP;
  GPIO_InitStruct.Pull = GPIO_NOPULL;
  GPIO_InitStruct.Speed = GPIO_SPEED_FREQ_LOW;
  HAL_GPIO_Init(OTG_FS_PowerSwitchOn_GPIO_Port, &GPIO_InitStruct);

  /*Configure GPIO pin : PDM_OUT_Pin */
  GPIO_InitStruct.Pin = PDM_OUT_Pin;
  GPIO_InitStruct.Mode = GPIO_MODE_AF_PP;
  GPIO_InitStruct.Pull = GPIO_NOPULL;
  GPIO_InitStruct.Speed = GPIO_SPEED_FREQ_LOW;
  GPIO_InitStruct.Alternate = GPIO_AF5_SPI2;
  HAL_GPIO_Init(PDM_OUT_GPIO_Port, &GPIO_InitStruct);

  /*Configure GPIO pin : B1_Pin */
  GPIO_InitStruct.Pin = B1_Pin;
  GPIO_InitStruct.Mode = GPIO_MODE_IT_RISING;
  GPIO_InitStruct.Pull = GPIO_NOPULL;
  HAL_GPIO_Init(B1_GPIO_Port, &GPIO_InitStruct);

  /*Configure GPIO pins : SPI1_SCK_Pin SPI1_MISO_Pin SPI1_MOSI_Pin */
  GPIO_InitStruct.Pin = SPI1_SCK_Pin|SPI1_MISO_Pin|SPI1_MOSI_Pin;
  GPIO_InitStruct.Mode = GPIO_MODE_AF_PP;
  GPIO_InitStruct.Pull = GPIO_NOPULL;
  GPIO_InitStruct.Speed = GPIO_SPEED_FREQ_LOW;
  GPIO_InitStruct.Alternate = GPIO_AF5_SPI1;
  HAL_GPIO_Init(GPIOA, &GPIO_InitStruct);

  /*Configure GPIO pin : BOOT1_Pin */
  GPIO_InitStruct.Pin = BOOT1_Pin;
  GPIO_InitStruct.Mode = GPIO_MODE_INPUT;
  GPIO_InitStruct.Pull = GPIO_NOPULL;
  HAL_GPIO_Init(BOOT1_GPIO_Port, &GPIO_InitStruct);

  /*Configure GPIO pin : CLK_IN_Pin */
  GPIO_InitStruct.Pin = CLK_IN_Pin;
  GPIO_InitStruct.Mode = GPIO_MODE_AF_PP;
  GPIO_InitStruct.Pull = GPIO_NOPULL;
  GPIO_InitStruct.Speed = GPIO_SPEED_FREQ_LOW;
  GPIO_InitStruct.Alternate = GPIO_AF5_SPI2;
  HAL_GPIO_Init(CLK_IN_GPIO_Port, &GPIO_InitStruct);

  /*Configure GPIO pins : LD4_Pin LD3_Pin LD5_Pin LD6_Pin
                           Audio_RST_Pin */
  GPIO_InitStruct.Pin = LD4_Pin|LD3_Pin|LD5_Pin|LD6_Pin
                          |Audio_RST_Pin;
  GPIO_InitStruct.Mode = GPIO_MODE_OUTPUT_PP;
  GPIO_InitStruct.Pull = GPIO_NOPULL;
  GPIO_InitStruct.Speed = GPIO_SPEED_FREQ_LOW;
  HAL_GPIO_Init(GPIOD, &GPIO_InitStruct);

  /*Configure GPIO pins : I2S3_MCK_Pin I2S3_SCK_Pin I2S3_SD_Pin */
  GPIO_InitStruct.Pin = I2S3_MCK_Pin|I2S3_SCK_Pin|I2S3_SD_Pin;
  GPIO_InitStruct.Mode = GPIO_MODE_AF_PP;
  GPIO_InitStruct.Pull = GPIO_NOPULL;
  GPIO_InitStruct.Speed = GPIO_SPEED_FREQ_LOW;
  GPIO_InitStruct.Alternate = GPIO_AF6_SPI3;
  HAL_GPIO_Init(GPIOC, &GPIO_InitStruct);

  /*Configure GPIO pin : VBUS_FS_Pin */
  GPIO_InitStruct.Pin = VBUS_FS_Pin;
  GPIO_InitStruct.Mode = GPIO_MODE_INPUT;
  GPIO_InitStruct.Pull = GPIO_NOPULL;
  HAL_GPIO_Init(VBUS_FS_GPIO_Port, &GPIO_InitStruct);

  /*Configure GPIO pins : OTG_FS_ID_Pin OTG_FS_DM_Pin OTG_FS_DP_Pin */
  GPIO_InitStruct.Pin = OTG_FS_ID_Pin|OTG_FS_DM_Pin|OTG_FS_DP_Pin;
  GPIO_InitStruct.Mode = GPIO_MODE_AF_PP;
  GPIO_InitStruct.Pull = GPIO_NOPULL;
  GPIO_InitStruct.Speed = GPIO_SPEED_FREQ_LOW;
  GPIO_InitStruct.Alternate = GPIO_AF10_OTG_FS;
  HAL_GPIO_Init(GPIOA, &GPIO_InitStruct);

  /*Configure GPIO pin : OTG_FS_OverCurrent_Pin */
  GPIO_InitStruct.Pin = OTG_FS_OverCurrent_Pin;
  GPIO_InitStruct.Mode = GPIO_MODE_INPUT;
  GPIO_InitStruct.Pull = GPIO_NOPULL;
  HAL_GPIO_Init(OTG_FS_OverCurrent_GPIO_Port, &GPIO_InitStruct);

  /*Configure GPIO pins : Audio_SCL_Pin Audio_SDA_Pin */
  GPIO_InitStruct.Pin = Audio_SCL_Pin|Audio_SDA_Pin;
  GPIO_InitStruct.Mode = GPIO_MODE_AF_OD;
  GPIO_InitStruct.Pull = GPIO_NOPULL;
  GPIO_InitStruct.Speed = GPIO_SPEED_FREQ_LOW;
  GPIO_InitStruct.Alternate = GPIO_AF4_I2C1;
  HAL_GPIO_Init(GPIOB, &GPIO_InitStruct);

  /*Configure GPIO pin : MEMS_INT2_Pin */
  GPIO_InitStruct.Pin = MEMS_INT2_Pin;
  GPIO_InitStruct.Mode = GPIO_MODE_EVT_RISING;
  GPIO_InitStruct.Pull = GPIO_NOPULL;
  HAL_GPIO_Init(MEMS_INT2_GPIO_Port, &GPIO_InitStruct);

  /* EXTI interrupt init*/
  HAL_NVIC_SetPriority(EXTI0_IRQn, 0, 0);
  HAL_NVIC_EnableIRQ(EXTI0_IRQn);

}

/* USER CODE BEGIN 4 */

void HAL_TIM_PeriodElapsedCallback(TIM_HandleTypeDef *htim)
{
    if (htim->Instance == TIM2) {

		switch(n){
			case 0:	HAL_DAC_SetValue(&hdac, DAC_CHANNEL_1, DAC_ALIGN_12B_R, ecg_30ppm[i]);
					i = (i + 1)%ECG_30_SIZE;
					break;
			case 1:	HAL_DAC_SetValue(&hdac, DAC_CHANNEL_1, DAC_ALIGN_12B_R, ecg_60ppm[i]);
					i = (i + 1)%ECG_60_SIZE;
					break;
			case 2: HAL_DAC_SetValue(&hdac, DAC_CHANNEL_1, DAC_ALIGN_12B_R, ecg_120ppm[i]);
					i = (i + 1)%ECG_120_SIZE;
					break;
			case 3:	HAL_DAC_SetValue(&hdac, DAC_CHANNEL_1, DAC_ALIGN_12B_R, ecg_180ppm[i]);
					i = (i + 1)%ECG_180_SIZE;
					break;
		}
    }
}
void HAL_GPIO_EXTI_Callback(uint16_t GPIO_Pin){
    if (GPIO_Pin == GPIO_PIN_0)
    {
    	i = 0;
    	HAL_GPIO_WritePin(GPIOD, LED_ROJO, 0);
    	HAL_GPIO_WritePin(GPIOD, LED_VERDE, 0);
    	HAL_GPIO_WritePin(GPIOD, LED_NARANJA, 0);
    	HAL_GPIO_WritePin(GPIOD, LED_AZUL, 0);

    	n = (n + 1)%4;

    	switch(n){
    	case 0:	HAL_GPIO_WritePin(GPIOD, LED_ROJO, 1); break;
    	case 1:	HAL_GPIO_WritePin(GPIOD, LED_VERDE, 1); break;
    	case 2:	HAL_GPIO_WritePin(GPIOD, LED_NARANJA, 1); break;
    	case 3:	HAL_GPIO_WritePin(GPIOD, LED_AZUL, 1); break;

    	}
    }
}
/* USER CODE END 4 */

void Error_Handler(void)
{
  __disable_irq();
  while (1)
  {
  }
}
